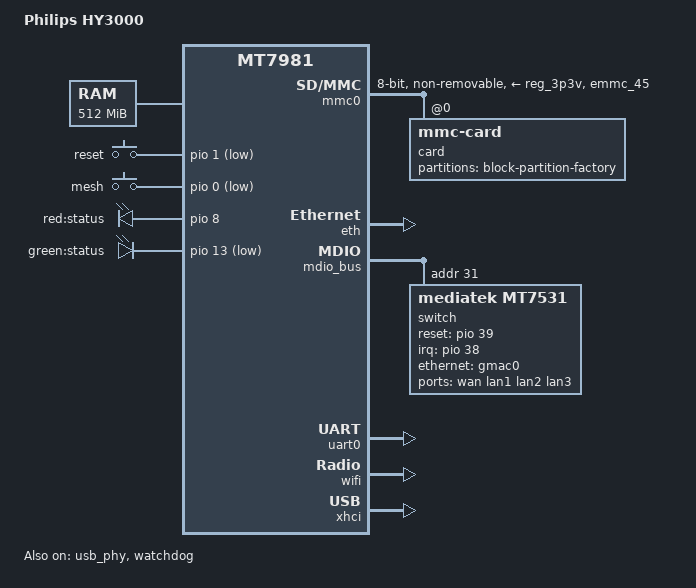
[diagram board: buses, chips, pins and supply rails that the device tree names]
// SPDX-License-Identifier: GPL-2.0-or-later OR MIT
/*
 * Philips HY3000 (MT7981B + MT7531 + eMMC)
 *
 * 移植自 tvliving/lede master 的 mt7981b-philips-hy3000.dts，
 * 按 openwrt-25.12 / kernel 6.12 语法适配（include mt7981b.dtsi、&gmac0/&gmac1 覆盖式）。
 *
 * 关键：bootargs 用 root=PARTLABEL=rootfs，由内核自行查找 rootfs 分区，
 * 不依赖 U-Boot 传参 / FIT external-static 加载，原厂 U-Boot 也能正常引导。
 * （此前 root=/dev/fit0 方案依赖新版 U-Boot 的 fit 加载，原厂 U-Boot 下无法启动）
 */

/dts-v1/;

#include <dt-bindings/gpio/gpio.h>
#include <dt-bindings/input/input.h>
#include <dt-bindings/leds/common.h>

#include "mt7981b.dtsi"

/ {
	model = "Philips HY3000";
	compatible = "philips,hy3000", "mediatek,mt7981";

	aliases {
		ethernet0 = &gmac0;
		ethernet1 = &gmac1;
		serial0 = &uart0;

		led-boot = &status_red_led;
		led-failsafe = &status_red_led;
		led-running = &status_green_led;
		led-upgrade = &status_red_led;
	};

	chosen {
		stdout-path = "serial0:115200n8";
		bootargs = "root=PARTLABEL=rootfs rootwait rootfstype=squashfs,f2fs";
	};

	memory {
		device_type = "memory";
		reg = <0 0x40000000 0 0x20000000>;
	};

	gpio-keys {
		compatible = "gpio-keys";

		button-reset {
			label = "reset";
			linux,code = <KEY_RESTART>;
			gpios = <&pio 1 GPIO_ACTIVE_LOW>;
		};

		button-mesh {
			label = "mesh";
			linux,code = <BTN_9>;
			linux,input-type = <EV_SW>;
			gpios = <&pio 0 GPIO_ACTIVE_LOW>;
		};
	};

	gpio-leds {
		compatible = "gpio-leds";

		status_red_led: led-0 {
			label = "red:status";
			gpios = <&pio 8 GPIO_ACTIVE_HIGH>;
		};

		status_green_led: led-1 {
			label = "green:status";
			gpios = <&pio 13 GPIO_ACTIVE_LOW>;
		};
	};
};

&mmc0 {
	pinctrl-names = "default", "state_uhs";
	pinctrl-0 = <&mmc0_pins_default>;
	pinctrl-1 = <&mmc0_pins_uhs>;
	bus-width = <8>;
	cap-mmc-highspeed;
	max-frequency = <52000000>;
	vmmc-supply = <&reg_3p3v>;
	non-removable;
	status = "okay";

	card@0 {
		compatible = "mmc-card";
		reg = <0>;

		block {
			compatible = "block-device";

			partitions {
				block-partition-factory {
					partname = "factory";

					nvmem-layout {
						compatible = "fixed-layout";
						#address-cells = <1>;
						#size-cells = <1>;

						eeprom_factory_0: eeprom@0 {
							reg = <0x0 0x1000>;
						};

						macaddr_factory_74: macaddr@74 {
							compatible = "mac-base";
							reg = <0x74 0x6>;
							#nvmem-cell-cells = <1>;
						};
					};
				};
			};
		};
	};
};

&eth {
	pinctrl-names = "default";
	pinctrl-0 = <&mdio_pins>;
	status = "okay";

	gmac0: mac@0 {
		compatible = "mediatek,eth-mac";
		reg = <0>;
		phy-mode = "2500base-x";

		nvmem-cells = <&macaddr_factory_74 0>;
		nvmem-cell-names = "mac-address";

		fixed-link {
			speed = <2500>;
			full-duplex;
			pause;
		};
	};

	gmac1: mac@1 {
		compatible = "mediatek,eth-mac";
		reg = <1>;
		phy-mode = "gmii";
		phy-handle = <&int_gbe_phy>;
	};
};

&mdio_bus {
	switch: switch@1f {
		compatible = "mediatek,mt7531";
		reg = <31>;
		reset-gpios = <&pio 39 GPIO_ACTIVE_HIGH>;
		interrupt-controller;
		#interrupt-cells = <1>;
		interrupt-parent = <&pio>;
		interrupts = <38 IRQ_TYPE_LEVEL_HIGH>;
	};
};

&switch {
	ports {
		#address-cells = <1>;
		#size-cells = <0>;

		port@0 {
			reg = <0>;
			label = "wan";
		};

		port@1 {
			reg = <1>;
			label = "lan1";
		};

		port@2 {
			reg = <2>;
			label = "lan2";
		};

		port@3 {
			reg = <3>;
			label = "lan3";
		};

		port@6 {
			reg = <6>;
			ethernet = <&gmac0>;
			phy-mode = "2500base-x";

			fixed-link {
				speed = <2500>;
				full-duplex;
				pause;
			};
		};
	};
};

&pio {
	mmc0_pins_default: mmc0-pins-default {
		mux {
			function = "flash";
			groups = "emmc_45";
		};
	};

	mmc0_pins_uhs: mmc0-pins-uhs {
		mux {
			function = "flash";
			groups = "emmc_45";
		};
	};
};

&uart0 {
	status = "okay";
};

&usb_phy {
	status = "okay";
};

&watchdog {
	status = "okay";
};

&wifi {
	nvmem-cells = <&eeprom_factory_0>;
	nvmem-cell-names = "eeprom";
	status = "okay";
};

&xhci {
	status = "okay";
};
